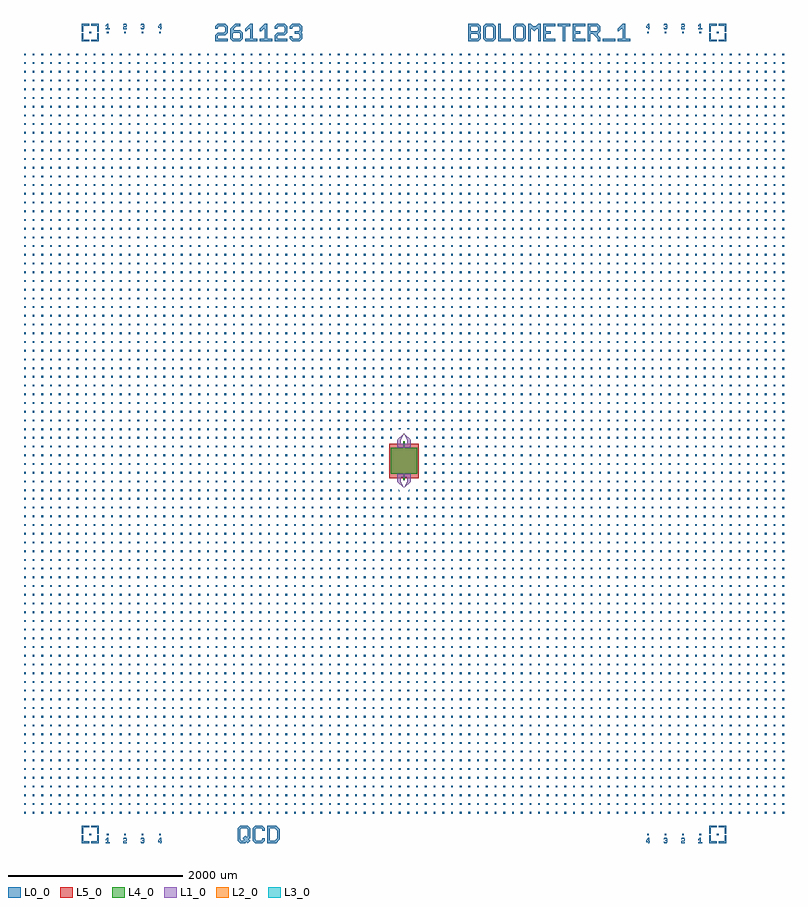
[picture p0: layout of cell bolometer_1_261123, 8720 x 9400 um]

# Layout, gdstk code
import gdstk
lib = gdstk.Library(unit=1e-6, precision=1e-09)
def R(c, l, rs):  # rectangles x0, y0, x1, y1
    for r in rs: c.add(gdstk.rectangle(r[:2], r[2:], *l))
def A(c, l, x, y, w, h, nx, ny, dx, dy):  # array of equal rectangles
    R(c, l, [(x+i*dx, y+j*dy, x+i*dx+w, y+j*dy+h) for i in range(nx) for j in range(ny)])
def P(c, l, *ps):  # polygons
    for p in ps: c.add(gdstk.Polygon(p, *l))
L0_0 = (0, 0)
L1_0 = (1, 0)
L2_0 = (2, 0)
L3_0 = (3, 0)
L4_0 = (4, 0)
L5_0 = (5, 0)

bolometer_1_261123 = lib.new_cell('bolometer_1_261123')
A(bolometer_1_261123, L0_0, -3610, -4610, 20, 20, 5, 2, 200, 9200)
A(bolometer_1_261123, L0_0, 2790, -4610, 20, 20, 5, 2, 200, 9200)
A(bolometer_1_261123, L0_0, -4360, -4360, 20, 20, 88, 37, 100, 100)
A(bolometer_1_261123, L0_0, -4360, -660, 20, 20, 43, 2, 100, 600)
A(bolometer_1_261123, L0_0, 140, -660, 20, 20, 43, 2, 100, 600)
A(bolometer_1_261123, L0_0, -4360, -560, 20, 20, 42, 5, 100, 100)
A(bolometer_1_261123, L0_0, 240, -560, 20, 20, 42, 5, 100, 100)
A(bolometer_1_261123, L0_0, -4360, 40, 20, 20, 43, 1, 100, 0)
A(bolometer_1_261123, L0_0, 140, 40, 20, 20, 43, 1, 100, 0)
A(bolometer_1_261123, L0_0, -4360, 140, 20, 20, 88, 43, 100, 100)
R(bolometer_1_261123, L0_0, [(-60,50,-40,60), (40,50,60,60), (2280.952,4500,2423.809,4528.571)])
P(bolometer_1_261123, L0_0, [(2109.523,4500),(2109.523,4700),(2223.809,4700),(2252.38,4671.428),(2138.094,4671.428),(2138.094,4614.286),(2209.523,4614.286),(2223.809,4628.571),(2223.809,4657.143),(2209.523,4671.428),(2252.38,4671.428),(2252.38,4614.286),(2223.809,4585.714),(2223.809,4571.429),(2252.38,4542.857),(2252.38,4500),(2223.809,4500),(2223.809,4528.571),(2166.666,4585.714),(2138.094,4585.714),(2138.094,4500)],
  [(3610,4500),(3610,4520),(3680,4520),(3680,4590),(3700,4590),(3700,4500)],
  [(3680,4610),(3680,4680),(3610,4680),(3610,4700),(3700,4700),(3700,4610)],
  [(3500,4610),(3500,4700),(3590,4700),(3590,4680),(3520,4680),(3520,4610)],
  [(3500,4500),(3500,4590),(3520,4590),(3520,4520),(3590,4520),(3590,4500)],
  [(3378.572,4640),(3378.572,4648.571),(3395.715,4648.571),(3395.715,4682.857),(3391.429,4682.857),(3382.858,4674.286),(3378.572,4674.286),(3378.572,4682.857),(3395.715,4700),(3404.286,4700),(3404.286,4648.571),(3421.429,4648.571),(3421.429,4640)],
  [(3178.572,4640),(3178.572,4661.429),(3187.143,4670),(3208.572,4670),(3212.858,4674.286),(3212.858,4687.143),(3208.572,4691.429),(3191.429,4691.429),(3187.143,4687.143),(3187.143,4682.857),(3178.572,4682.857),(3178.572,4691.429),(3187.143,4700),(3212.858,4700),(3221.429,4691.429),(3221.429,4670),(3212.858,4661.429),(3191.429,4661.429),(3187.143,4657.143),(3187.143,4648.571),(3221.429,4648.571),(3221.429,4640)],
  [(2987.143,4640),(2978.572,4648.571),(2978.572,4657.143),(2987.143,4657.143),(2987.143,4652.857),(2991.429,4648.571),(3008.572,4648.571),(3012.858,4652.857),(3012.858,4661.429),(3008.572,4665.714),(2995.715,4665.714),(2995.715,4674.286),(3008.572,4674.286),(3012.858,4678.571),(3012.858,4687.143),(3008.572,4691.429),(2991.429,4691.429),(2987.143,4687.143),(2987.143,4682.857),(2978.572,4682.857),(2978.572,4691.429),(2987.143,4700),(3012.858,4700),(3021.429,4691.429),(3021.429,4674.286),(3017.143,4670),(3021.429,4665.714),(3021.429,4648.571),(3012.858,4640)],
  [(2804.286,4640),(2804.286,4652.857),(2778.572,4652.857),(2778.572,4661.429),(2804.286,4661.429),(2804.286,4682.857),(2800.001,4682.857),(2787.143,4670),(2787.143,4661.429),(2778.572,4661.429),(2778.572,4674.286),(2804.286,4700),(2812.858,4700),(2812.858,4661.429),(2821.429,4661.429),(2821.429,4652.857),(2812.858,4652.857),(2812.858,4640)],
  [(2452.38,4500),(2452.38,4528.571),(2509.523,4528.571),(2509.523,4642.857),(2495.237,4642.857),(2466.666,4614.286),(2452.38,4614.286),(2452.38,4642.857),(2509.523,4700),(2538.094,4700),(2538.094,4528.571),(2595.237,4528.571),(2595.237,4500)],
  [(1080.953,4500),(1080.953,4700),(1109.524,4700),(1109.524,4528.571),(1223.81,4528.571),(1223.81,4500)],
  [(1595.238,4500),(1595.238,4700),(1738.095,4700),(1738.095,4671.428),(1623.809,4671.428),(1623.809,4614.286),(1680.952,4614.286),(1680.952,4585.714),(1623.809,4585.714),(1623.809,4528.571),(1738.095,4528.571),(1738.095,4500)],
  [(1823.81,4500),(1823.81,4671.428),(1766.667,4671.428),(1766.667,4700),(1909.524,4700),(1909.524,4671.428),(1852.381,4671.428),(1852.381,4500)],
  [(1938.095,4500),(1938.095,4700),(2080.952,4700),(2080.952,4671.428),(1966.666,4671.428),(1966.666,4614.286),(2023.809,4614.286),(2023.809,4585.714),(1966.666,4585.714),(1966.666,4528.571),(2080.952,4528.571),(2080.952,4500)],
  [(1280.952,4500),(1252.381,4528.571),(1252.381,4671.428),(1280.952,4700),(1366.667,4700),(1395.238,4671.428),(1395.238,4600),(1366.667,4600),(1366.667,4657.143),(1352.381,4671.428),(1295.238,4671.428),(1280.952,4657.143),(1280.952,4542.857),(1295.238,4528.571),(1352.381,4528.571),(1366.667,4542.857),(1366.667,4600),(1395.238,4600),(1395.238,4528.571),(1366.667,4500)],
  [(1423.81,4500),(1423.81,4700),(1452.381,4700),(1480.953,4671.428),(1509.524,4671.428),(1538.096,4700),(1566.667,4700),(1566.667,4500),(1538.096,4500),(1538.096,4642.857),(1523.81,4642.857),(1495.239,4614.286),(1466.667,4642.857),(1452.381,4642.857),(1452.381,4500)],
  [(738.096,4500),(738.096,4700),(852.382,4700),(880.953,4671.428),(766.667,4671.428),(766.667,4614.286),(838.096,4614.286),(852.382,4628.571),(852.382,4657.143),(838.096,4671.428),(880.953,4671.428),(880.953,4614.286),(866.667,4600),(880.953,4585.714),(766.667,4585.714),(766.667,4528.571),(838.096,4528.571),(852.382,4542.857),(852.382,4571.429),(838.096,4585.714),(880.953,4585.714),(880.953,4528.571),(852.382,4500)],
  [(938.096,4500),(909.525,4528.571),(909.525,4671.428),(938.096,4700),(1023.811,4700),(1052.382,4671.428),(1052.382,4600),(1023.811,4600),(1023.811,4657.143),(1009.525,4671.428),(952.382,4671.428),(938.096,4657.143),(938.096,4542.857),(952.382,4528.571),(1009.525,4528.571),(1023.811,4542.857),(1023.811,4600),(1052.382,4600),(1052.382,4528.571),(1023.811,4500)],
  [(-1652.381,4500),(-1652.381,4528.571),(-1595.238,4528.571),(-1595.238,4642.857),(-1609.524,4642.857),(-1638.095,4614.286),(-1652.381,4614.286),(-1652.381,4642.857),(-1595.238,4700),(-1566.667,4700),(-1566.667,4528.571),(-1509.524,4528.571),(-1509.524,4500)],
  [(-1480.953,4500),(-1480.953,4571.429),(-1452.382,4600),(-1380.953,4600),(-1366.667,4614.286),(-1366.667,4657.143),(-1380.953,4671.428),(-1438.096,4671.428),(-1452.382,4657.143),(-1452.382,4642.857),(-1480.953,4642.857),(-1480.953,4671.428),(-1452.382,4700),(-1366.667,4700),(-1338.096,4671.428),(-1338.096,4600),(-1366.667,4571.429),(-1438.096,4571.429),(-1452.382,4557.143),(-1452.382,4528.571),(-1338.096,4528.571),(-1338.096,4500)],
  [(-1280.953,4500),(-1309.524,4528.571),(-1309.524,4557.143),(-1280.953,4557.143),(-1280.953,4542.857),(-1266.667,4528.571),(-1209.524,4528.571),(-1195.238,4542.857),(-1195.238,4571.429),(-1209.524,4585.714),(-1252.381,4585.714),(-1252.381,4614.286),(-1209.524,4614.286),(-1195.238,4628.571),(-1195.238,4657.143),(-1209.524,4671.428),(-1266.667,4671.428),(-1280.953,4657.143),(-1280.953,4642.857),(-1309.524,4642.857),(-1309.524,4671.428),(-1280.953,4700),(-1195.238,4700),(-1166.667,4671.428),(-1166.667,4614.286),(-1180.953,4600),(-1166.667,4585.714),(-1166.667,4528.571),(-1195.238,4500)],
  [(-2166.666,4500),(-2166.666,4571.429),(-2138.095,4600),(-2066.666,4600),(-2052.38,4614.286),(-2052.38,4657.143),(-2066.666,4671.428),(-2123.809,4671.428),(-2138.095,4657.143),(-2138.095,4642.857),(-2166.666,4642.857),(-2166.666,4671.428),(-2138.095,4700),(-2052.38,4700),(-2023.809,4671.428),(-2023.809,4600),(-2052.38,4571.429),(-2123.809,4571.429),(-2138.095,4557.143),(-2138.095,4528.571),(-2023.809,4528.571),(-2023.809,4500)],
  [(-1966.667,4500),(-1995.238,4528.571),(-1995.238,4642.857),(-1938.095,4700),(-1880.952,4700),(-1880.952,4671.428),(-1923.809,4671.428),(-1952.381,4642.857),(-1952.381,4628.571),(-1880.952,4628.571),(-1852.381,4600),(-1952.381,4600),(-1966.667,4585.714),(-1966.667,4542.857),(-1952.381,4528.571),(-1895.238,4528.571),(-1880.952,4542.857),(-1880.952,4585.714),(-1895.238,4600),(-1852.381,4600),(-1852.381,4528.571),(-1880.952,4500)],
  [(-1823.809,4500),(-1823.809,4528.571),(-1766.666,4528.571),(-1766.666,4642.857),(-1780.952,4642.857),(-1809.523,4614.286),(-1823.809,4614.286),(-1823.809,4642.857),(-1766.666,4700),(-1738.095,4700),(-1738.095,4528.571),(-1680.952,4528.571),(-1680.952,4500)],
  [(-3012.858,4640),(-3021.429,4648.571),(-3021.429,4657.143),(-3012.858,4657.143),(-3012.858,4652.857),(-3008.572,4648.571),(-2991.429,4648.571),(-2987.143,4652.857),(-2987.143,4661.429),(-2991.429,4665.714),(-3004.286,4665.714),(-3004.286,4674.286),(-2991.429,4674.286),(-2987.143,4678.571),(-2987.143,4687.143),(-2991.429,4691.429),(-3008.572,4691.429),(-3012.858,4687.143),(-3012.858,4682.857),(-3021.429,4682.857),(-3021.429,4691.429),(-3012.858,4700),(-2987.143,4700),(-2978.572,4691.429),(-2978.572,4674.286),(-2982.858,4670),(-2978.572,4665.714),(-2978.572,4648.571),(-2987.143,4640)],
  [(-2795.715,4640),(-2795.715,4652.857),(-2821.429,4652.857),(-2821.429,4661.429),(-2795.715,4661.429),(-2795.715,4682.857),(-2800,4682.857),(-2812.858,4670),(-2812.858,4661.429),(-2821.429,4661.429),(-2821.429,4674.286),(-2795.715,4700),(-2787.143,4700),(-2787.143,4661.429),(-2778.572,4661.429),(-2778.572,4652.857),(-2787.143,4652.857),(-2787.143,4640)],
  [(-3221.429,4640),(-3221.429,4661.429),(-3212.858,4670),(-3191.429,4670),(-3187.143,4674.286),(-3187.143,4687.143),(-3191.429,4691.429),(-3208.572,4691.429),(-3212.858,4687.143),(-3212.858,4682.857),(-3221.429,4682.857),(-3221.429,4691.429),(-3212.858,4700),(-3187.143,4700),(-3178.572,4691.429),(-3178.572,4670),(-3187.143,4661.429),(-3208.572,4661.429),(-3212.858,4657.143),(-3212.858,4648.571),(-3178.572,4648.571),(-3178.572,4640)],
  [(-3520,4610),(-3520,4680),(-3590,4680),(-3590,4700),(-3500,4700),(-3500,4610)],
  [(-3700,4610),(-3700,4700),(-3610,4700),(-3610,4680),(-3680,4680),(-3680,4610)],
  [(-3421.429,4640),(-3421.429,4648.571),(-3404.286,4648.571),(-3404.286,4682.857),(-3408.572,4682.857),(-3417.143,4674.286),(-3421.429,4674.286),(-3421.429,4682.857),(-3404.286,4700),(-3395.715,4700),(-3395.715,4648.571),(-3378.572,4648.571),(-3378.572,4640)],
  [(-3590,4500),(-3590,4520),(-3520,4520),(-3520,4590),(-3500,4590),(-3500,4500)],
  [(-3700,4500),(-3700,4590),(-3680,4590),(-3680,4520),(-3610,4520),(-3610,4500)],
  [(-60,-660),(-60,-640.13),(-47.719,-660)],
  [(-3421.429,-4700),(-3421.429,-4691.429),(-3404.286,-4691.429),(-3404.286,-4657.143),(-3408.572,-4657.143),(-3417.143,-4665.714),(-3421.429,-4665.714),(-3421.429,-4657.143),(-3404.286,-4640),(-3395.715,-4640),(-3395.715,-4691.429),(-3378.572,-4691.429),(-3378.572,-4700)],
  [(-3520,-4590),(-3520,-4520),(-3590,-4520),(-3590,-4500),(-3500,-4500),(-3500,-4590)],
  [(-3700,-4700),(-3700,-4610),(-3680,-4610),(-3680,-4680),(-3610,-4680),(-3610,-4700)],
  [(-3590,-4700),(-3590,-4680),(-3520,-4680),(-3520,-4610),(-3500,-4610),(-3500,-4700)],
  [(-3700,-4590),(-3700,-4500),(-3610,-4500),(-3610,-4520),(-3680,-4520),(-3680,-4590)],
  [(-3012.858,-4700),(-3021.429,-4691.429),(-3021.429,-4682.857),(-3012.858,-4682.857),(-3012.858,-4687.143),(-3008.572,-4691.429),(-2991.429,-4691.429),(-2987.143,-4687.143),(-2987.143,-4678.571),(-2991.429,-4674.286),(-3004.286,-4674.286),(-3004.286,-4665.714),(-2991.429,-4665.714),(-2987.143,-4661.429),(-2987.143,-4652.857),(-2991.429,-4648.571),(-3008.572,-4648.571),(-3012.858,-4652.857),(-3012.858,-4657.143),(-3021.429,-4657.143),(-3021.429,-4648.571),(-3012.858,-4640),(-2987.143,-4640),(-2978.572,-4648.571),(-2978.572,-4665.714),(-2982.858,-4670),(-2978.572,-4674.286),(-2978.572,-4691.429),(-2987.143,-4700)],
  [(-3221.429,-4700),(-3221.429,-4678.571),(-3212.858,-4670),(-3191.429,-4670),(-3187.143,-4665.714),(-3187.143,-4652.857),(-3191.429,-4648.571),(-3208.572,-4648.571),(-3212.858,-4652.857),(-3212.858,-4657.143),(-3221.429,-4657.143),(-3221.429,-4648.571),(-3212.858,-4640),(-3187.143,-4640),(-3178.572,-4648.571),(-3178.572,-4670),(-3187.143,-4678.571),(-3208.572,-4678.571),(-3212.858,-4682.857),(-3212.858,-4691.429),(-3178.572,-4691.429),(-3178.572,-4700)],
  [(-2795.715,-4700),(-2795.715,-4687.143),(-2821.429,-4687.143),(-2821.429,-4678.571),(-2795.715,-4678.571),(-2795.715,-4657.143),(-2800,-4657.143),(-2812.858,-4670),(-2812.858,-4678.571),(-2821.429,-4678.571),(-2821.429,-4665.714),(-2795.715,-4640),(-2787.143,-4640),(-2787.143,-4678.571),(-2778.572,-4678.571),(-2778.572,-4687.143),(-2787.143,-4687.143),(-2787.143,-4700)],
  [(-1709.524,-4700),(-1738.095,-4671.429),(-1738.095,-4528.572),(-1709.524,-4500),(-1623.809,-4500),(-1595.238,-4528.572),(-1595.238,-4557.143),(-1623.809,-4557.143),(-1623.809,-4542.857),(-1638.095,-4528.572),(-1695.238,-4528.572),(-1709.524,-4542.857),(-1709.524,-4657.143),(-1695.238,-4671.429),(-1638.095,-4671.429),(-1623.809,-4657.143),(-1623.809,-4642.857),(-1595.238,-4642.857),(-1595.238,-4671.429),(-1623.809,-4700)],
  [(-1880.953,-4700),(-1909.524,-4671.429),(-1909.524,-4528.572),(-1880.953,-4500),(-1795.238,-4500),(-1766.667,-4528.572),(-1866.667,-4528.572),(-1880.953,-4542.857),(-1880.953,-4657.143),(-1866.667,-4671.429),(-1838.095,-4671.429),(-1838.095,-4657.143),(-1852.381,-4642.857),(-1823.81,-4614.286),(-1809.524,-4628.571),(-1795.238,-4628.571),(-1795.238,-4542.857),(-1809.524,-4528.572),(-1766.667,-4528.572),(-1766.667,-4642.857),(-1780.953,-4657.143),(-1766.667,-4671.429),(-1795.238,-4700),(-1809.524,-4685.714),(-1823.81,-4700)],
  [(-1566.667,-4700),(-1566.667,-4500),(-1466.667,-4500),(-1438.096,-4528.572),(-1538.096,-4528.572),(-1538.096,-4671.429),(-1480.953,-4671.429),(-1452.381,-4642.857),(-1452.381,-4557.143),(-1480.953,-4528.572),(-1438.096,-4528.572),(-1423.81,-4542.857),(-1423.81,-4657.143),(-1466.667,-4700)],
  [(47.719,-660),(60,-640.13),(60,-660)],
  [(2804.286,-4700),(2804.286,-4687.143),(2778.572,-4687.143),(2778.572,-4678.571),(2804.286,-4678.571),(2804.286,-4657.143),(2800.001,-4657.143),(2787.143,-4670),(2787.143,-4678.571),(2778.572,-4678.571),(2778.572,-4665.714),(2804.286,-4640),(2812.858,-4640),(2812.858,-4678.571),(2821.429,-4678.571),(2821.429,-4687.143),(2812.858,-4687.143),(2812.858,-4700)],
  [(2987.143,-4700),(2978.572,-4691.429),(2978.572,-4682.857),(2987.143,-4682.857),(2987.143,-4687.143),(2991.429,-4691.429),(3008.572,-4691.429),(3012.858,-4687.143),(3012.858,-4678.571),(3008.572,-4674.286),(2995.715,-4674.286),(2995.715,-4665.714),(3008.572,-4665.714),(3012.858,-4661.429),(3012.858,-4652.857),(3008.572,-4648.571),(2991.429,-4648.571),(2987.143,-4652.857),(2987.143,-4657.143),(2978.572,-4657.143),(2978.572,-4648.571),(2987.143,-4640),(3012.858,-4640),(3021.429,-4648.571),(3021.429,-4665.714),(3017.143,-4670),(3021.429,-4674.286),(3021.429,-4691.429),(3012.858,-4700)],
  [(3178.572,-4700),(3178.572,-4678.571),(3187.143,-4670),(3208.572,-4670),(3212.858,-4665.714),(3212.858,-4652.857),(3208.572,-4648.571),(3191.429,-4648.571),(3187.143,-4652.857),(3187.143,-4657.143),(3178.572,-4657.143),(3178.572,-4648.571),(3187.143,-4640),(3212.858,-4640),(3221.429,-4648.571),(3221.429,-4670),(3212.858,-4678.571),(3191.429,-4678.571),(3187.143,-4682.857),(3187.143,-4691.429),(3221.429,-4691.429),(3221.429,-4700)],
  [(3500,-4590),(3500,-4500),(3590,-4500),(3590,-4520),(3520,-4520),(3520,-4590)],
  [(3500,-4700),(3500,-4610),(3520,-4610),(3520,-4680),(3590,-4680),(3590,-4700)],
  [(3610,-4700),(3610,-4680),(3680,-4680),(3680,-4610),(3700,-4610),(3700,-4700)],
  [(3378.572,-4700),(3378.572,-4691.429),(3395.715,-4691.429),(3395.715,-4657.143),(3391.429,-4657.143),(3382.858,-4665.714),(3378.572,-4665.714),(3378.572,-4657.143),(3395.715,-4640),(3404.286,-4640),(3404.286,-4691.429),(3421.429,-4691.429),(3421.429,-4700)],
  [(3680,-4590),(3680,-4520),(3610,-4520),(3610,-4500),(3700,-4500),(3700,-4590)])
R(bolometer_1_261123, L1_0, [(-77,-554.4,-35,-504.4), (35,-554.4,77,-504.4), (-77,-504.4,77,-462.4), (-77,-162.4,77,-120.4), (-77,-120.4,-35,-70.4), (35,-120.4,77,-70.4)])
P(bolometer_1_261123, L1_0, [(-11,-10.4),(-11,-7.575),(-4.75,-7.575),(-4.75,-4.575),(-11,-4.575),(-11,0),(2,0),(2,-1.575),(5,-1.575),(5,0),(11,0),(11,-10.4),(5,-10.4),(5,-8.825),(2,-8.825),(2,-10.4)],
  [(35,-70.4),(5,-10.4),(11,-10.4),(77,-70.4)],
  [(-77,-70.4),(-11,-10.4),(-5,-10.4),(-35,-70.4)],
  [(-11,-614.4),(-77,-554.4),(-35,-554.4),(-5,-614.4)],
  [(5,-614.4),(35,-554.4),(77,-554.4),(11,-614.4)])
A(bolometer_1_261123, L2_0, -2.45, -7.575, 2.15, 0.25, 1, 7, 0, 0.5)
R(bolometer_1_261123, L2_0, [(-1.45,-9.325,-1.3,-1.075), (-2.45,-8.325,3,-7.825), (-5.75,-4.075,-0.3,-3.575), (-2.45,-2.575,4.5,-2.075)])
A(bolometer_1_261123, L3_0, -3.25, -7.625, 0.9, 0.35, 1, 7, 0, 0.5)
A(bolometer_1_261123, L3_0, -0.4, -7.625, 0.9, 0.35, 1, 7, 0, 0.5)
R(bolometer_1_261123, L3_0, [(-1.5,-10.125,-1.25,-9.225), (-3.25,-8.375,-2.35,-7.775), (2.9,-8.375,3.8,-7.775), (-6.55,-4.125,-5.65,-3.525), (-0.4,-4.125,0.5,-3.525), (-3.25,-2.625,-2.35,-2.025), (4.4,-2.625,5.3,-2.025), (-1.5,-1.175,-1.25,-0.275)])
R(bolometer_1_261123, L4_0, [(-10,-534.4,10,-462.4), (-150,-462.4,150,-162.4), (-10,-162.4,10,-90.4), (2,-10.325,3.5,-7.325), (-6.25,-6.075,-4.75,-3.075), (3.5,-3.075,5,-0.075)])
R(bolometer_1_261123, L5_0, [(-171,-512.4,171,-120.4)])

lib.write_gds('bolometer_1_261123.gds')
